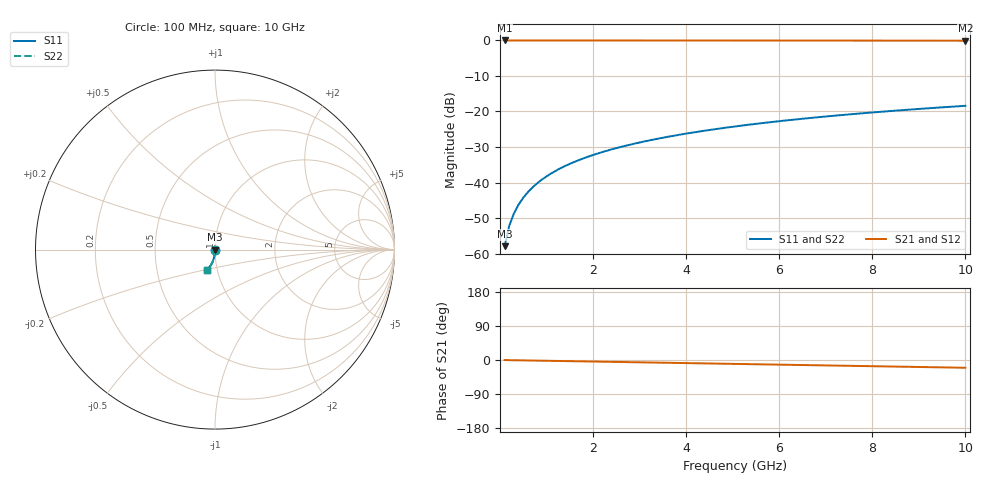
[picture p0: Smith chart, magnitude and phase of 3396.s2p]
# Hz S RI R 50.00
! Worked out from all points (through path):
!   100 points, 100 MHz to 10 GHz, reference 50 ohm
!   highest |S21| = 0.00 dB at 100 MHz (marker M1); lowest = -0.1 dB at 10 GHz (marker M2)
!   group delay of S21, straight-line fit = 5.69 ps
!   lowest |S11| = -57.9 dB at 100 MHz (marker M3), VSWR 1.00, Z = 50 - j0.122 ohm
!   |S11| at or under -10 dB: start of sweep to end of sweep
!   |S22| runs from -57.9 to -18.4 dB; largest |S21 - S12| = 0
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1e8  0.000355 -0.00122  0.9996 -0.00355  0.9996 -0.00355  0.000355 -0.00122
2e8  0.000343 -0.00244  0.9996 -0.0071  0.9996 -0.0071  0.000343 -0.00244
3e8  0.00032 -0.00366  0.9996 -0.0106  0.9996 -0.0106  0.00032 -0.00366
4e8  0.000289 -0.00488  0.9995 -0.0142  0.9995 -0.0142  0.000289 -0.00488
5e8  0.000249 -0.0061  0.9994 -0.0177  0.9994 -0.0177  0.000249 -0.0061
6e8  0.000201 -0.00732  0.9994 -0.0213  0.9994 -0.0213  0.000201 -0.00732
7e8  0.000143 -0.00854  0.9993 -0.0248  0.9993 -0.0248  0.000143 -0.00854
8e8  7.69e-05 -0.00975  0.9992 -0.0284  0.9992 -0.0284  7.69e-05 -0.00975
9e8  1.92e-06 -0.011  0.999 -0.0319  0.999 -0.0319  1.92e-06 -0.011
1.1e9  -0.000174 -0.0134  0.9987 -0.039  0.9987 -0.039  -0.000174 -0.0134
1.4e9  -0.000504 -0.0171  0.9982 -0.0497  0.9982 -0.0497  -0.000504 -0.0171
1.8e9  -0.00106 -0.0219  0.9973 -0.0639  0.9973 -0.0639  -0.00106 -0.0219
2.1e9  -0.00158 -0.0256  0.9965 -0.0745  0.9965 -0.0745  -0.00158 -0.0256
2.5e9  -0.00238 -0.0304  0.9951 -0.0887  0.9951 -0.0887  -0.00238 -0.0304
2.9e9  -0.00332 -0.0352  0.9936 -0.1029  0.9936 -0.1029  -0.00332 -0.0352
3.4e9  -0.0047 -0.0412  0.9914 -0.1205  0.9914 -0.1205  -0.0047 -0.0412
4.2e9  -0.00734 -0.0507  0.9871 -0.1487  0.9871 -0.1487  -0.00734 -0.0507
5.1e9  -0.011 -0.0612  0.9811 -0.1803  0.9811 -0.1803  -0.011 -0.0612
5.9e9  -0.0147 -0.0703  0.9749 -0.2082  0.9749 -0.2082  -0.0147 -0.0703
6.7e9  -0.019 -0.0791  0.9678 -0.2359  0.9678 -0.2359  -0.019 -0.0791
8.4e9  -0.0298 -0.0971  0.9498 -0.2939  0.9498 -0.2939  -0.0298 -0.0971
1e10  -0.0419 -0.1126  0.9293 -0.3472  0.9293 -0.3472  -0.0419 -0.1126
